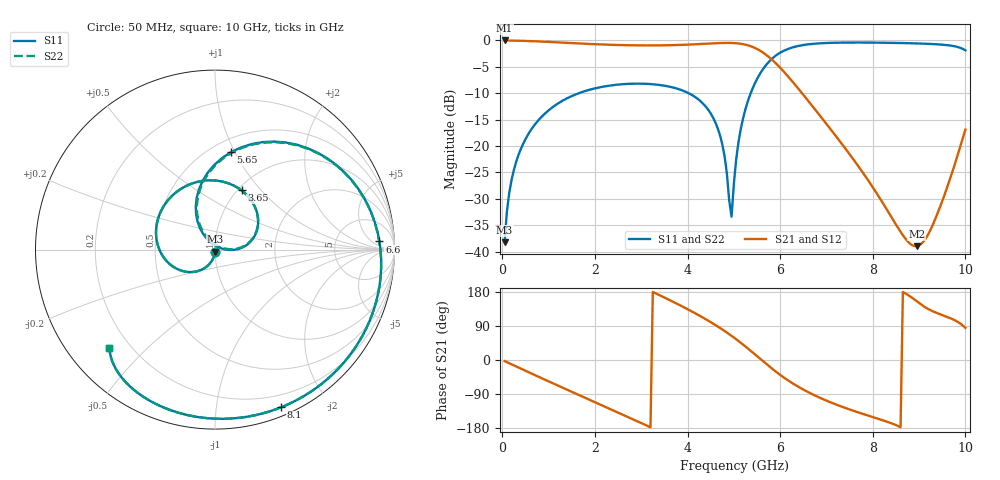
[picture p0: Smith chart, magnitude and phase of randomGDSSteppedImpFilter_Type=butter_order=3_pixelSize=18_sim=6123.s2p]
! freq	dB(S11)	phase(S11)	dB(S12)	phase(S12)
!  dB(S21)	phase(S21)	dB(S22)	phase(S22)
!S-par simulation data
#  GHz  S  DB  R 50
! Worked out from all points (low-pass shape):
!   200 points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, 50 MHz to 10 GHz, reference 50 ohm
!   highest |S21| = -0.01 dB at 50 MHz (marker M1); lowest = -39.0 dB at 8.95 GHz (marker M2)
!   |S21| within 3 dB of the highest: start of sweep to 5.738 GHz
!   lowest |S11| = -38.2 dB at 50 MHz (marker M3), VSWR 1.02, Z = 49.9 - j1.23 ohm
!   |S11| at or under -10 dB: start of sweep to 1.651 GHz; 4.025 GHz to 5.364 GHz (1.339 GHz wide, 28.5 % of centre)
!   |S22| runs from -38.2 to -0.4 dB; largest |S21 - S12| = 0
!   S11 on the Smith chart (normalised r, x): 50 MHz: 1.00, -0.02; 3.65 GHz: 1.04, +0.79; 5.65 GHz: 0.62, +0.97; 6.6 GHz: 17, +10; 8.1 GHz: 0.08, -1.50; 10 GHz: 0.12, -0.39
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0.05  -38.21 -91.7  -0.01 -2.9  -0.01 -2.9  -38.21 -91.7
0.2  -26.41 -101.4  -0.03 -11.4  -0.03 -11.4  -26.41 -101.4
0.5  -18.70 -118.9  -0.10 -28.4  -0.10 -28.4  -18.70 -118.9
1.15  -12.24 -155.3  -0.35 -64.7  -0.35 -64.7  -12.24 -155.4
1.75  -9.70 171.8  -0.62 -97.5  -0.62 -97.5  -9.70 171.7
2.65  -8.26 122.7  -0.90 -146.7  -0.90 -146.7  -8.26 122.7
3.4  -8.44 80.5  -0.94 170.8  -0.94 170.8  -8.44 80.6
3.65  -8.84 65.8  -0.90 155.9  -0.90 155.9  -8.83 66.0
4.6  -15.50 6.5  -0.53 92.5  -0.53 92.5  -15.48 7.7
4.8  -21.94 -1.6  -0.47 76.6  -0.47 76.6  -21.80 1.5
4.95  -33.37 79.9  -0.48 63.8  -0.48 63.8  -31.60 76.3
5.05  -22.52 126.7  -0.53 54.8  -0.53 54.8  -22.33 122.6
5.3  -11.58 114.0  -0.92 30.6  -0.92 30.6  -11.57 112.6
5.65  -5.18 80.6  -2.42 -5.4  -2.42 -5.4  -5.18 79.8
6.05  -2.08 43.3  -5.63 -43.7  -5.63 -43.7  -2.08 42.7
6.6  -0.75 2.8  -11.38 -84.5  -11.38 -84.5  -0.75 2.5
6.7  -0.66 -3.3  -12.48 -90.6  -12.48 -90.6  -0.66 -3.6
8.1  -0.42 -67.2  -29.15 -154.4  -29.15 -154.4  -0.42 -67.4
8.35  -0.45 -76.3  -32.68 -164.6  -32.68 -164.6  -0.45 -76.5
8.95  -0.57 -97.1  -38.95 154.9  -38.95 154.9  -0.57 -97.2
9.35  -0.71 -110.8  -33.80 125.7  -33.80 125.7  -0.72 -111.0
10  -1.88 -136.9  -16.89 84.9  -16.89 84.9  -1.90 -137.2
